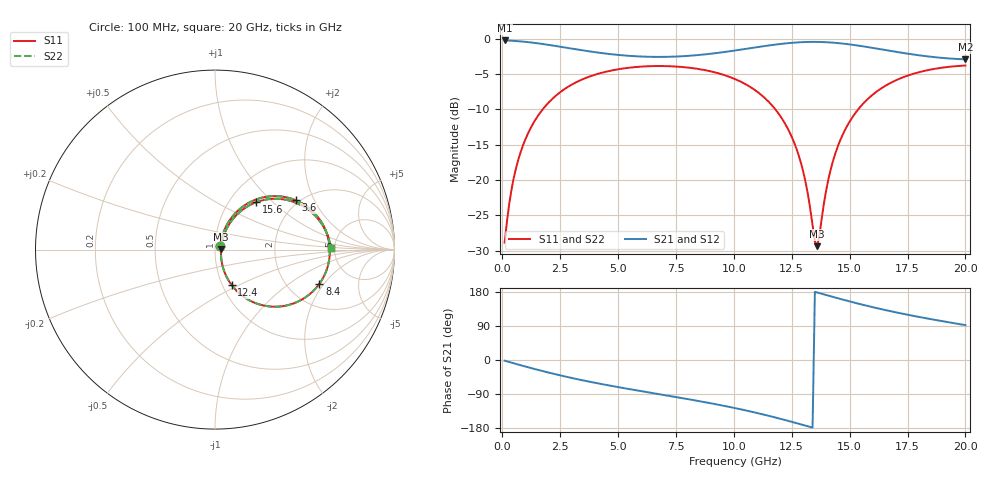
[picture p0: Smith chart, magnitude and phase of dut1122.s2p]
! Touchstone file exported from HFSS 2026.1.0
!  File:  C:/ffzhzh/LocalFiles/Ansys_Project_Files/temp_train_TSV_RDL_1122_1783306449_5512.aedt
!  Generated:  11:05:36 AM Jul  6, 2026
!  Design:  TSV_RDL
!  Project:  temp_train_TSV_RDL_1122_1783306449_5512
! Variables:
!  h_bsmrdl = 3.07um
!  h_ox = 20um
!  h_rdl = 5um
!  h_sub = 83.51um
!  h_tmrdl = 4.04um
!  h_tsv = 83.51um
!  h_via = 3um
!  l_bsmrdl = 916.83um
!  l_sub = 4459.23um
!  l_tmrdl = 300.2um
!  m_sub = 200um
!  pitch = 51.57um
!  r_tsv = 7.06um
!  s_tmrdl = 10um
!  w_bsmrdl = 13.23um
!  w_sub = 500um
!  w_tmrdl = 22.75um
!  x_tsv_center1 = 311.575um
!  x_tsv_center2 = 1241.635um
!  x_tsv_center3 = 1564.585um
!  x_tsv_center4 = 2494.645um
!  x_tsv_center5 = 2817.595um
!  x_tsv_center6 = 3747.655um
# GHz S MA R 50.000000
! Terminal data exported
! Port[1] = TM_RDL1_1_T1
! Port[2] = TM_RDL5_1_T1
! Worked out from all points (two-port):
!   200 points, 100 MHz to 20 GHz, reference 50 ohm
!   highest |S21| = -0.26 dB at 100 MHz (marker M1); lowest = -2.9 dB at 20 GHz (marker M2)
!   |S21| within 3 dB of the highest: start of sweep to end of sweep
!   lowest |S11| = -29.4 dB at 13.6 GHz (marker M3), VSWR 1.07, Z = 53.5 + j0.238 ohm
!   |S11| at or under -10 dB: start of sweep to 1.747 GHz; 11.79 GHz to 15.37 GHz (3.582 GHz wide, 26.4 % of centre)
!   |S22| runs from -29.4 to -3.8 dB; largest |S21 - S12| = 2.3e-14
!   S11 on the Smith chart (normalised r, x): 100 MHz: 1.06, +0.04; 3.6 GHz: 1.90, +1.45; 8.4 GHz: 2.96, -1.80; 12.4 GHz: 1.11, -0.46; 15.6 GHz: 1.32, +0.79; 20 GHz: 4.63, +0.12
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0.1  0.03603 33.0  0.9702 -1.8  0.9702 -1.8  0.03603 33.0
! Gamma 0 0 0 0
! Port Impedance 50 0 50 0
0.3  0.06796 57.8  0.9675 -5.3  0.9675 -5.3  0.06796 57.8
0.5  0.1043 63.5  0.9634 -8.8  0.9634 -8.8  0.1043 63.5
1.1  0.2118 62.1  0.9447 -19.0  0.9447 -19.0  0.2118 62.1
2.1  0.3668 50.1  0.8977 -34.7  0.8977 -34.7  0.3668 50.2
3.5  0.5184 32.7  0.8246 -54.0  0.8246 -54.0  0.5184 32.7
3.6  0.5264 31.6  0.8198 -55.2  0.8198 -55.2  0.5264 31.6
5.2  0.614 14.0  0.7615 -73.7  0.7615 -73.7  0.614 14.0
6.8  0.6398 -2.0  0.7422 -90.5  0.7422 -90.5  0.6398 -2.0
8.4  0.6123 -18.1  0.7633 -107.4  0.7633 -107.4  0.6123 -18.1
10.1  0.5133 -36.9  0.826 -127.5  0.826 -127.5  0.5133 -36.9
11.4  0.3717 -53.1  0.8893 -145.7  0.8893 -145.7  0.3717 -53.1
12.4  0.2189 -64.8  0.9305 -161.5  0.9305 -161.5  0.2189 -64.8
13  0.114 -66.2  0.9447 -171.6  0.9447 -171.6  0.114 -66.3
13.4  0.04772 -45.1  0.9479 -178.4  0.9479 -178.4  0.04768 -45.2
13.6  0.03406 3.7  0.9475 178.1  0.9475 178.1  0.03397 3.7
14  0.08675 56.9  0.9427 171.2  0.9427 171.2  0.0867 56.9
14.4  0.1571 60.8  0.9328 164.5  0.9328 164.5  0.1571 60.8
15.6  0.349 49.0  0.8807 145.2  0.8807 145.2  0.349 49.1
16.7  0.4795 35.5  0.8219 129.6  0.8219 129.6  0.4795 35.5
18.4  0.5995 16.5  0.7475 109.0  0.7475 109.0  0.5995 16.5
20  0.6448 0.7  0.7134 92.0  0.7134 92.0  0.6448 0.7
